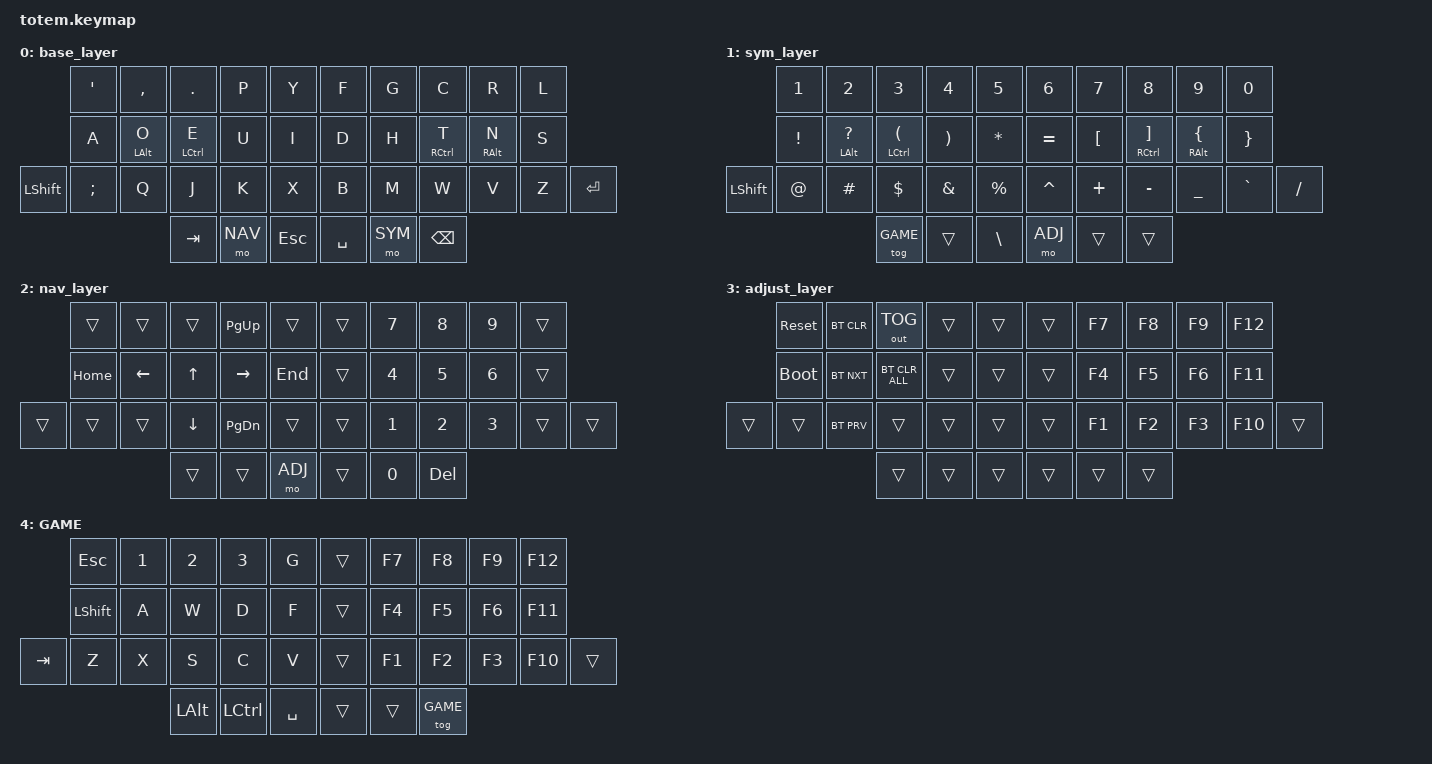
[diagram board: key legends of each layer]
//
//                                                        ▀▀▀▀▀     ▀▀▀▀▀          ▀▀█▀▀
//                                                        ▄▀▀▀▄  ▄  ▄▀▀▀▄  ▄  ▄▀▀▀▄  █  ▄▀▀▀▄
//                                                        █   █  █  █   █  █  █   █  █  █   █
//                                                         ▀▀▀   █   ▀▀▀   █   ▀▀▀   ▀   ▀▀▀
//                                                               █      ▄▄▄█▄▄▄    █   █  
//                                                               ▀      █  █  █     █▄█
//                                                             ▀▀▀▀▀    █  █  █      ▀
//                                                                      ▀  ▀  ▀
//
// ▄▄▄▄▄▄▄▄▄▄▄▄▄▄▄▄▄▄▄▄▄▄▄▄▄▄▄▄▄▄▄▄▄▄▄▄▄▄▄▄▄▄▄▄▄▄▄▄▄▄▄▄▄▄▄▄▄▄▄▄▄▄▄▄▄▄▄▄▄▄▄▄▄▄▄▄▄▄▄▄▄▄▄▄▄▄▄▄▄▄▄▄▄▄▄▄▄▄▄▄▄▄▄▄▄▄▄▄▄▄▄▄▄▄▄▄▄▄▄▄▄▄▄▄▄▄▄▄▄▄▄▄▄▄▄▄▄▄▄▄▄▄▄▄▄▄▄▄▄
       

#include <behaviors.dtsi>
#include <dt-bindings/zmk/keys.h>
#include <dt-bindings/zmk/bt.h>
#include <dt-bindings/zmk/outputs.h>

#define BASE 0
#define SYM  1
#define NAV  2
#define ADJ  3
#define GAME 4

/ {
     behaviors {
         hml: home_row_mod_left {
            compatible = "zmk,behavior-hold-tap";
            #binding-cells = <2>;
            flavor = "balanced";
            require-prior-idle-ms = <150>;
            tapping-term-ms = <280>;
            quick-tap-ms = <175>;
            bindings = <&kp>, <&kp>;
            hold-trigger-key-positions = < 5 6 7 8 9 15 16 17 18 19 26 27 28 29 30 31 35 36 37 >; // List of keys on the right side of the keyboard
            hold-trigger-on-release;
        };
        hmr: home_row_mod_right {
            compatible = "zmk,behavior-hold-tap";
            #binding-cells = <2>;
            flavor = "balanced";
            require-prior-idle-ms = <150>;
            tapping-term-ms = <280>;
            quick-tap-ms = <175>;
            bindings = <&kp>, <&kp>;
            hold-trigger-key-positions = < 0 1 2 3 4 10 11 12 13 14 20 21 22 23 24 25 32 33 34>; // List of keys on the left side of the keyboard
            hold-trigger-on-release;
        };
     };

        keymap {
                compatible = "zmk,keymap";
// ▄▄▄▄▄▄▄▄▄▄▄▄▄▄▄▄▄▄▄▄▄▄▄▄▄▄▄▄▄▄▄▄▄▄▄▄▄▄▄▄▄▄▄▄▄▄▄▄▄▄▄▄▄▄▄▄▄▄▄▄▄▄▄▄▄▄▄▄▄▄▄▄▄▄▄▄▄▄▄▄▄▄▄▄▄▄▄▄▄▄▄▄▄▄▄▄▄▄▄▄▄▄▄▄▄▄▄▄▄▄▄▄▄▄▄▄▄▄▄▄▄▄▄▄▄▄▄▄▄▄▄▄▄▄▄▄▄▄▄▄▄▄▄▄▄▄▄▄▄

                base_layer {
//             ┏━━━━━━━━━━━┳━━━━━━━━━━━┳━━━━━━━━━━━┳━━━━━━━━━━━┳━━━━━━━━━━━┓   ┏━━━━━━━━━━━┳━━━━━━━━━━━┳━━━━━━━━━━━┳━━━━━━━━━━━┳━━━━━━━━━━━┓
//             ┃     '     ┃     ,     ┃     .     ┃     P     ┃     Y     ┃   ┃     F     ┃     G     ┃     C     ┃     R     ┃     L     ┃
//             ┣━━━━━━━━━━━╋━━━━━━━━━━━╋━━━━━━━━━━━╋━━━━━━━━━━━╋━━━━━━━━━━━┫   ┣━━━━━━━━━━━╋━━━━━━━━━━━╋━━━━━━━━━━━╋━━━━━━━━━━━╋━━━━━━━━━━━┫
//             ┃     A     ┃     O     ┃     E     ┃     U     ┃     I     ┃   ┃     D     ┃     H     ┃     T     ┃     N     ┃     S     ┃
// ┏━━━━━━━━━━━╋━━━━━━━━━━━╋━━━━━━━━━━━╋━━━━━━━━━━━╋━━━━━━━━━━━╋━━━━━━━━━━━┫   ┣━━━━━━━━━━━╋━━━━━━━━━━━╋━━━━━━━━━━━╋━━━━━━━━━━━╋━━━━━━━━━━━╋━━━━━━━━━━━┓
// ┃   LSHFT   ┃   SEMI    ┃     Q     ┃     J     ┃     K     ┃     X     ┃   ┃     B     ┃     M     ┃     W     ┃     V     ┃     Z     ┃    RET    ┃
// ┗━━━━━━━━━━━┻━━━━━━━━━━━┻━━━━━━━━━━━╋━━━━━━━━━━━╋━━━━━━━━━━━╋━━━━━━━━━━━┫   ┣━━━━━━━━━━━╋━━━━━━━━━━━╋━━━━━━━━━━━╋━━━━━━━━━━━┻━━━━━━━━━━━┻━━━━━━━━━━━┛
//                                     ┃    TAB    ┃    NAV    ┃    ESC    ┃   ┃    SPC    ┃    SYM    ┃   BSPC    ┃
//                                     ┗━━━━━━━━━━━┻━━━━━━━━━━━┻━━━━━━━━━━━┛   ┗━━━━━━━━━━━┻━━━━━━━━━━━┻━━━━━━━━━━━┛
 bindings = <
// ╷           ╷           ╷           ╷           ╷           ╷           ╷   ╷           ╷           ╷           ╷           ╷           ╷           ╷

                &kp SQT     &kp COMMA   &kp DOT     &kp P       &kp Y           &kp F       &kp G       &kp C       &kp R       &kp L
                &kp A       &hml LALT O &hml LCTRL E &kp U      &kp I           &kp D       &kp H       &hmr RCTRL T &hmr RALT N &kp S
    &kp LSHFT   &kp SEMI    &kp Q       &kp J       &kp K       &kp X           &kp B       &kp M       &kp W       &kp V       &kp Z        &kp RET
                                        &kp TAB     &mo NAV     &kp ESC         &kp SPACE   &mo SYM     &kp BSPC
                        >;
                };

// ▄▄▄▄▄▄▄▄▄▄▄▄▄▄▄▄▄▄▄▄▄▄▄▄▄▄▄▄▄▄▄▄▄▄▄▄▄▄▄▄▄▄▄▄▄▄▄▄▄▄▄▄▄▄▄▄▄▄▄▄▄▄▄▄▄▄▄▄▄▄▄▄▄▄▄▄▄▄▄▄▄▄▄▄▄▄▄▄▄▄▄▄▄▄▄▄▄▄▄▄▄▄▄▄▄▄▄▄▄▄▄▄▄▄▄▄▄▄▄▄▄▄▄▄▄▄▄▄▄▄▄▄▄▄▄▄▄▄▄▄▄▄▄▄▄▄▄▄▄


                sym_layer {
//             ┏━━━━━━━━━━━┳━━━━━━━━━━━┳━━━━━━━━━━━┳━━━━━━━━━━━┳━━━━━━━━━━━┓   ┏━━━━━━━━━━━┳━━━━━━━━━━━┳━━━━━━━━━━━┳━━━━━━━━━━━┳━━━━━━━━━━━┓
//             ┃     1     ┃     2     ┃     3     ┃     4     ┃     5     ┃   ┃     6     ┃     7     ┃     8     ┃     9     ┃     0     ┃
//             ┣━━━━━━━━━━━╋━━━━━━━━━━━╋━━━━━━━━━━━╋━━━━━━━━━━━╋━━━━━━━━━━━┫   ┣━━━━━━━━━━━╋━━━━━━━━━━━╋━━━━━━━━━━━╋━━━━━━━━━━━╋━━━━━━━━━━━┫
//             ┃     !     ┃     ?     ┃     (     ┃     )     ┃     *     ┃   ┃     =     ┃     [     ┃     ]     ┃     {     ┃     }     ┃
// ┏━━━━━━━━━━━╋━━━━━━━━━━━╋━━━━━━━━━━━╋━━━━━━━━━━━╋━━━━━━━━━━━╋━━━━━━━━━━━┫   ┣━━━━━━━━━━━╋━━━━━━━━━━━╋━━━━━━━━━━━╋━━━━━━━━━━━╋━━━━━━━━━━━╋━━━━━━━━━━━┓
// ┃   LSHFT   ┃     @     ┃     #     ┃     $     ┃     &     ┃     %     ┃   ┃     ^     ┃     +     ┃     -     ┃     _     ┃     `     ┃     /     ┃
// ┗━━━━━━━━━━━┻━━━━━━━━━━━┻━━━━━━━━━━━╋━━━━━━━━━━━╋━━━━━━━━━━━╋━━━━━━━━━━━┫   ┣━━━━━━━━━━━╋━━━━━━━━━━━╋━━━━━━━━━━━╋━━━━━━━━━━━┻━━━━━━━━━━━┻━━━━━━━━━━━┛
//                                     ┃           ┃           ┃     \     ┃   ┃    ADJ    ┃           ┃           ┃
//                                     ┗━━━━━━━━━━━┻━━━━━━━━━━━┻━━━━━━━━━━━┛   ┗━━━━━━━━━━━┻━━━━━━━━━━━┻━━━━━━━━━━━┛
 bindings = <
// ╷           ╷           ╷           ╷           ╷           ╷           ╷   ╷           ╷           ╷           ╷           ╷           ╷           ╷

                &kp N1      &kp N2         &kp N3         &kp N4      &kp N5          &kp N6    &kp N7      &kp N8         &kp N9        &kp N0
                &kp EXCL    &hml LALT QMARK &hml LCTRL LPAR &kp RPAR  &kp ASTERISK    &kp EQUAL &kp LBKT    &hmr RCTRL RBKT &hmr RALT LBRC &kp RBRC
    &kp LSHFT   &kp AT      &kp POUND      &kp DOLLAR     &kp AMPS    &kp PERCENT     &kp CARET &kp PLUS    &kp MINUS      &kp UNDER     &kp GRAVE &kp SLASH
                                           &tog GAME      &trans      &kp BSLH        &mo ADJ   &trans      &trans      
                        >;
                };

// ▄▄▄▄▄▄▄▄▄▄▄▄▄▄▄▄▄▄▄▄▄▄▄▄▄▄▄▄▄▄▄▄▄▄▄▄▄▄▄▄▄▄▄▄▄▄▄▄▄▄▄▄▄▄▄▄▄▄▄▄▄▄▄▄▄▄▄▄▄▄▄▄▄▄▄▄▄▄▄▄▄▄▄▄▄▄▄▄▄▄▄▄▄▄▄▄▄▄▄▄▄▄▄▄▄▄▄▄▄▄▄▄▄▄▄▄▄▄▄▄▄▄▄▄▄▄▄▄▄▄▄▄▄▄▄▄▄▄▄▄▄▄▄▄▄▄▄▄▄


                nav_layer {
//             ┏━━━━━━━━━━━┳━━━━━━━━━━━┳━━━━━━━━━━━┳━━━━━━━━━━━┳━━━━━━━━━━━┓   ┏━━━━━━━━━━━┳━━━━━━━━━━━┳━━━━━━━━━━━┳━━━━━━━━━━━┳━━━━━━━━━━━┓
//             ┃           ┃           ┃           ┃   PGUP    ┃           ┃   ┃           ┃     7     ┃     8     ┃     9     ┃           ┃
//             ┣━━━━━━━━━━━╋━━━━━━━━━━━╋━━━━━━━━━━━╋━━━━━━━━━━━╋━━━━━━━━━━━┫   ┣━━━━━━━━━━━╋━━━━━━━━━━━╋━━━━━━━━━━━╋━━━━━━━━━━━╋━━━━━━━━━━━┫
//             ┃    HOME   ┃    LEFT   ┃     UP    ┃   RIGHT   ┃    END    ┃   ┃           ┃     4     ┃     5     ┃     6     ┃           ┃
// ┏━━━━━━━━━━━╋━━━━━━━━━━━╋━━━━━━━━━━━╋━━━━━━━━━━━╋━━━━━━━━━━━╋━━━━━━━━━━━┫   ┣━━━━━━━━━━━╋━━━━━━━━━━━╋━━━━━━━━━━━╋━━━━━━━━━━━╋━━━━━━━━━━━╋━━━━━━━━━━━┓
// ┃           ┃           ┃           ┃    DOWN   ┃   PGDN    ┃           ┃   ┃           ┃     1     ┃     2     ┃     3     ┃           ┃           ┃
// ┗━━━━━━━━━━━┻━━━━━━━━━━━┻━━━━━━━━━━━╋━━━━━━━━━━━╋━━━━━━━━━━━╋━━━━━━━━━━━┫   ┣━━━━━━━━━━━╋━━━━━━━━━━━╋━━━━━━━━━━━╋━━━━━━━━━━━┻━━━━━━━━━━━┻━━━━━━━━━━━┛
//                                     ┃           ┃           ┃    ADJ    ┃   ┃           ┃     0     ┃    DEL    ┃
//                                     ┗━━━━━━━━━━━┻━━━━━━━━━━━┻━━━━━━━━━━━┛   ┗━━━━━━━━━━━┻━━━━━━━━━━━┻━━━━━━━━━━━┛
 bindings = <
// ╷           ╷           ╷           ╷           ╷           ╷           ╷   ╷           ╷           ╷           ╷           ╷           ╷           ╷
                &trans      &trans      &trans      &kp PG_UP   &trans          &trans      &kp N7      &kp N8      &kp N9      &trans    
                &kp HOME    &kp LEFT    &kp UP      &kp RIGHT   &kp END         &trans      &kp N4      &kp N5      &kp N6      &trans
    &trans      &trans      &trans      &kp DOWN    &kp PG_DN   &trans          &trans      &kp N1      &kp N2      &kp N3      &trans    &trans
                                        &trans      &trans      &mo ADJ         &trans      &kp N0      &kp DEL
                        >;
                };

// ▄▄▄▄▄▄▄▄▄▄▄▄▄▄▄▄▄▄▄▄▄▄▄▄▄▄▄▄▄▄▄▄▄▄▄▄▄▄▄▄▄▄▄▄▄▄▄▄▄▄▄▄▄▄▄▄▄▄▄▄▄▄▄▄▄▄▄▄▄▄▄▄▄▄▄▄▄▄▄▄▄▄▄▄▄▄▄▄▄▄▄▄▄▄▄▄▄▄▄▄▄▄▄▄▄▄▄▄▄▄▄▄▄▄▄▄▄▄▄▄▄▄▄▄▄▄▄▄▄▄▄▄▄▄▄▄▄▄▄▄▄▄▄▄▄▄▄▄▄


                adjust_layer {
//             ┏━━━━━━━━━━━┳━━━━━━━━━━━┳━━━━━━━━━━━┳━━━━━━━━━━━┳━━━━━━━━━━━┓   ┏━━━━━━━━━━━┳━━━━━━━━━━━┳━━━━━━━━━━━┳━━━━━━━━━━━┳━━━━━━━━━━━┓
//             ┃   RESET   ┃ BT CLEAR  ┃  OUT TOG  ┃           ┃           ┃   ┃           ┃    F7     ┃    F8     ┃    F9     ┃    F12    ┃
//             ┣━━━━━━━━━━━╋━━━━━━━━━━━╋━━━━━━━━━━━╋━━━━━━━━━━━╋━━━━━━━━━━━┫   ┣━━━━━━━━━━━╋━━━━━━━━━━━╋━━━━━━━━━━━╋━━━━━━━━━━━╋━━━━━━━━━━━┫
//             ┃ BOOTLOAD  ┃ BT NEXT   ┃           ┃           ┃           ┃   ┃           ┃    F4     ┃    F5     ┃    F6     ┃    F11    ┃
// ┏━━━━━━━━━━━╋━━━━━━━━━━━╋━━━━━━━━━━━╋━━━━━━━━━━━╋━━━━━━━━━━━╋━━━━━━━━━━━┫   ┣━━━━━━━━━━━╋━━━━━━━━━━━╋━━━━━━━━━━━╋━━━━━━━━━━━╋━━━━━━━━━━━╋━━━━━━━━━━━┓
// ┃           ┃           ┃ BT PREV   ┃           ┃           ┃           ┃   ┃           ┃    F1     ┃    F2     ┃    F3     ┃    F10    ┃           ┃
// ┗━━━━━━━━━━━┻━━━━━━━━━━━┻━━━━━━━━━━━╋━━━━━━━━━━━╋━━━━━━━━━━━╋━━━━━━━━━━━┫   ┣━━━━━━━━━━━╋━━━━━━━━━━━╋━━━━━━━━━━━╋━━━━━━━━━━━┻━━━━━━━━━━━┻━━━━━━━━━━━┛
//                                     ┃           ┃           ┃           ┃   ┃           ┃           ┃           ┃
//                                     ┗━━━━━━━━━━━┻━━━━━━━━━━━┻━━━━━━━━━━━┛   ┗━━━━━━━━━━━┻━━━━━━━━━━━┻━━━━━━━━━━━┛
 bindings = <
// ╷           ╷           ╷           ╷           ╷           ╷           ╷   ╷           ╷           ╷           ╷           ╷           ╷           ╷

                &sys_reset  &bt BT_CLR &out OUT_TOG &trans      &trans          &trans      &kp F7      &kp F8      &kp F9      &kp F12
                &bootloader &bt BT_NXT  &bt BT_CLR_ALL &trans   &trans          &trans      &kp F4      &kp F5      &kp F6      &kp F11  
    &trans      &trans      &bt BT_PRV  &trans      &trans      &trans          &trans      &kp F1      &kp F2      &kp F3      &kp F10     &trans         
                                        &trans      &trans      &trans          &trans      &trans      &trans      
                        >;
                };

// ▄▄▄▄▄▄▄▄▄▄▄▄▄▄▄▄▄▄▄▄▄▄▄▄▄▄▄▄▄▄▄▄▄▄▄▄▄▄▄▄▄▄▄▄▄▄▄▄▄▄▄▄▄▄▄▄▄▄▄▄▄▄▄▄▄▄▄▄▄▄▄▄▄▄▄▄▄▄▄▄▄▄▄▄▄▄▄▄▄▄▄▄▄▄▄▄▄▄▄▄▄▄▄▄▄▄▄▄▄▄▄▄▄▄▄▄▄▄▄▄▄▄▄▄▄▄▄▄▄▄▄▄▄▄▄▄▄▄▄▄▄▄▄▄▄▄▄▄▄


                game_layer {
// ┏━━━━━━━━━━━━━━━━━━━━━━━━━━━━━━━━━━━━━━━┓
label= "GAME"                             ;
// ┗━━━━━━━━━━━━━━━━━━━━━━━━━━━━━━━━━━━━━━━┛
//             ┏━━━━━━━━━━━┳━━━━━━━━━━━┳━━━━━━━━━━━┳━━━━━━━━━━━┳━━━━━━━━━━━┓   ┏━━━━━━━━━━━┳━━━━━━━━━━━┳━━━━━━━━━━━┳━━━━━━━━━━━┳━━━━━━━━━━━┓
//             ┃ SOLO      ┃ TOGGLE IN ┃ RESET ROT ┃ TOGGLE OUT┃ TAKE SNAP ┃   ┃           ┃           ┃           ┃           ┃           ┃
//             ┣━━━━━━━━━━━╋━━━━━━━━━━━╋━━━━━━━━━━━╋━━━━━━━━━━━╋━━━━━━━━━━━┫   ┣━━━━━━━━━━━╋━━━━━━━━━━━╋━━━━━━━━━━━╋━━━━━━━━━━━╋━━━━━━━━━━━┫
//             ┃ ---       ┃ LAST KEY  ┃ NEW KEY   ┃ NEXT KEY  ┃ ENTER     ┃   ┃           ┃           ┃           ┃           ┃           ┃
// ┏━━━━━━━━━━━╋━━━━━━━━━━━╋━━━━━━━━━━━╋━━━━━━━━━━━╋━━━━━━━━━━━╋━━━━━━━━━━━┫   ┣━━━━━━━━━━━╋━━━━━━━━━━━╋━━━━━━━━━━━╋━━━━━━━━━━━╋━━━━━━━━━━━╋━━━━━━━━━━━┓
// ┃           ┃ FULLSCR   ┃ CPY2BRUSH ┃ DEL HEAD  ┃ PSTinPLACE┃ BOOK MARK ┃   ┃           ┃           ┃           ┃           ┃           ┃           ┃
// ┗━━━━━━━━━━━┻━━━━━━━━━━━┻━━━━━━━━━━━╋━━━━━━━━━━━╋━━━━━━━━━━━╋━━━━━━━━━━━┫   ┣━━━━━━━━━━━╋━━━━━━━━━━━╋━━━━━━━━━━━╋━━━━━━━━━━━┻━━━━━━━━━━━┻━━━━━━━━━━━┛
//                                     ┃           ┃ REDO/SAV1 ┃TRANS/WARP ┃   ┃           ┃           ┃           ┃
//                                     ┗━━━━━━━━━━━┻━━━━━━━━━━━┻━━━━━━━━━━━┛   ┗━━━━━━━━━━━┻━━━━━━━━━━━┻━━━━━━━━━━━┛
 bindings = <
// ╷           ╷           ╷           ╷           ╷           ╷           ╷   ╷           ╷           ╷           ╷           ╷           ╷           ╷

                &kp ESC     &kp N1      &kp N2      &kp N3      &kp G           &trans      &kp F7      &kp F8      &kp F9      &kp F12
                &kp LSHFT   &kp A       &kp W       &kp D       &kp F           &trans      &kp F4      &kp F5      &kp F6      &kp F11  
    &kp TAB     &kp Z       &kp X       &kp S       &kp C       &kp V           &trans      &kp F1      &kp F2      &kp F3      &kp F10     &trans
                                        &kp LALT    &kp LCTRL   &kp SPACE       &trans      &trans      &tog GAME
                        >;
                };
        };
};
